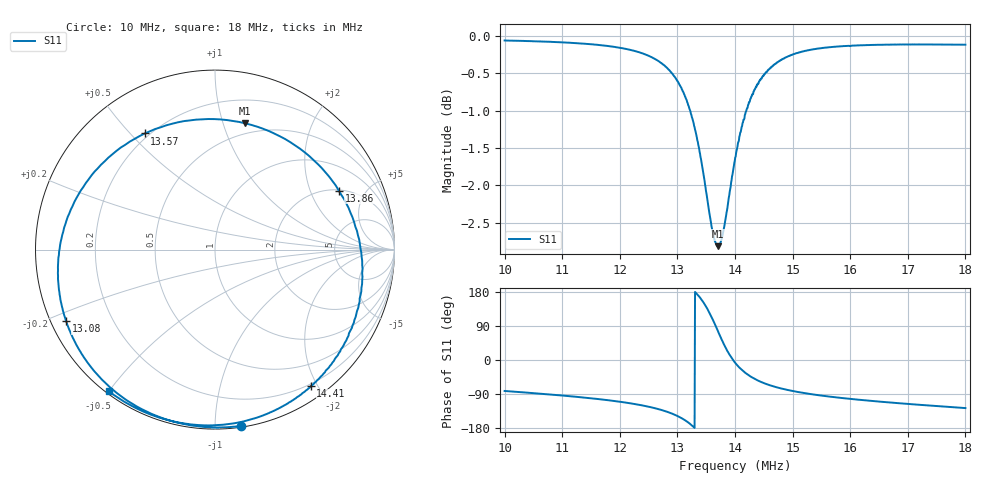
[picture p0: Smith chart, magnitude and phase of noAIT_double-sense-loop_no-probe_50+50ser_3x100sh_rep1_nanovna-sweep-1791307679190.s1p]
! NanoVNA Web complex sweep
! Processing: unaveraged complex samples; linear segment spacing; no smoothing
# Hz S RI R 50
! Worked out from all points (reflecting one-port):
!   1010 points, 10 MHz to 18 MHz, reference 50 ohm
!   lowest |S11| = -2.8 dB at 13.7 MHz (marker M1), VSWR 6.23, Z = 20 + j59.1 ohm
!   phase of S11 starts at -82 deg and turns -405 deg over the sweep
!   S11 on the Smith chart (normalised r, x): 10 MHz: 0.01, -1.16; 13.08 MHz: 0.04, -0.23; 13.57 MHz: 0.18, +0.55; 13.86 MHz: 2.04, +3.22; 14.41 MHz: 0.17, -1.91; 18 MHz: 0.01, -0.50
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1e7  0.1429 -0.9825
1.100698e7  -0.0662 -0.9877
1.200604e7  -0.3398 -0.921
1.233906e7  -0.4627 -0.858
1.260864e7  -0.5826 -0.7695
1.282272e7  -0.6928 -0.6525
1.300509e7  -0.7916 -0.4926
1.308438e7  -0.8304 -0.3963
1.325089e7  -0.8746 -0.116
1.336982e7  -0.8276 0.1616
1.34729e7  -0.6709 0.4347
1.356805e7  -0.3918 0.6469
1.363941e7  -0.1066 0.724
1.370284e7  0.1654 0.7041
1.379006e7  0.502 0.5403
1.386142e7  0.6902 0.3281
1.393278e7  0.7906 0.1059
1.400414e7  0.8221 -0.1065
1.409929e7  0.7909 -0.3435
1.418651e7  0.7312 -0.5065
1.428959e7  0.6396 -0.6486
1.440852e7  0.5337 -0.7606
1.466225e7  0.337 -0.8941
1.50032e7  0.1373 -0.9617
1.544722e7  -0.0483 -0.9795
1.600225e7  -0.2148 -0.9605
1.700131e7  -0.4312 -0.8875
1.800036e7  -0.592 -0.789
